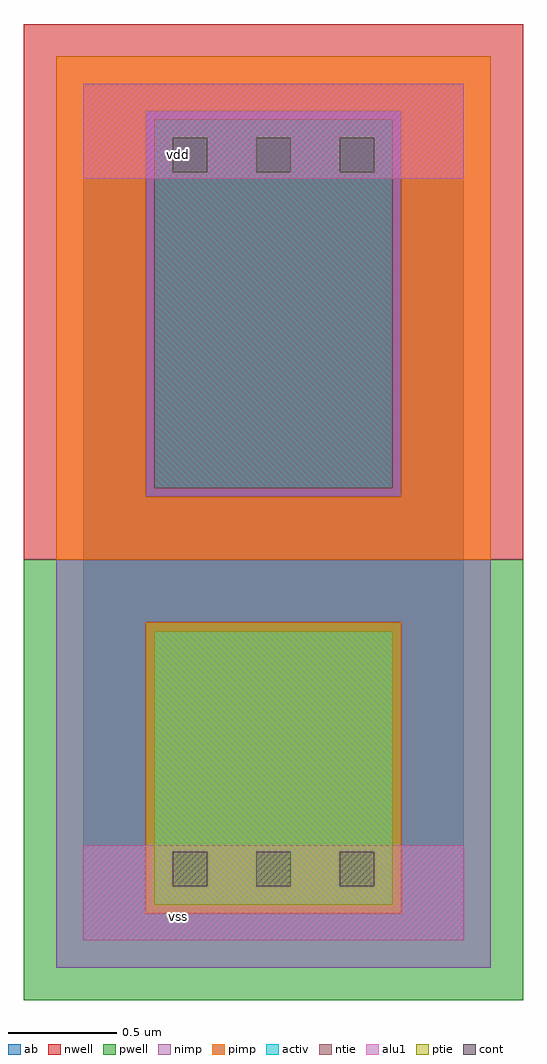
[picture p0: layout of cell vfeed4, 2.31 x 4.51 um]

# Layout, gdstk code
import gdstk
lib = gdstk.Library(unit=1e-6, precision=2.5e-09)
def R(c, l, rs):  # rectangles x0, y0, x1, y1
    for r in rs: c.add(gdstk.rectangle(r[:2], r[2:], *l))
def A(c, l, x, y, w, h, nx, ny, dx, dy):  # array of equal rectangles
    R(c, l, [(x+i*dx, y+j*dy, x+i*dx+w, y+j*dy+h) for i in range(nx) for j in range(ny)])
ntie = (5, 0)
ptie = (6, 0)
cont = (25, 0)
pwell = (41, 0)
nwell = (42, 0)
activ = (43, 0)
pimp = (44, 0)
nimp = (45, 0)
alu1 = (49, 0)
ab = (63, 0)

vfeed4 = lib.new_cell('vfeed4')
R(vfeed4, ntie, [(0.33,2.09,1.43,3.795)])
R(vfeed4, ptie, [(0.33,0.165,1.43,1.43)])
A(vfeed4, cont, 0.415, 0.25, 0.16, 0.16, 3, 2, 0.385, 3.3)
R(vfeed4, pwell, [(-0.275,-0.275,2.035,1.76)])
R(vfeed4, nwell, [(-0.275,1.76,2.035,4.235)])
R(vfeed4, activ, [(0.33,0.165,1.43,1.43), (0.33,2.09,1.43,3.795)])
R(vfeed4, pimp, [(0.29,0.125,1.47,1.47), (-0.125,1.76,1.885,2.05), (-0.125,2.05,0.29,3.835), (1.47,2.05,1.885,3.835), (-0.125,3.835,1.885,4.085)])
R(vfeed4, nimp, [(-0.125,-0.125,1.885,0.125), (-0.125,0.125,0.29,1.47), (1.47,0.125,1.885,1.47), (-0.125,1.47,1.885,1.76), (0.29,2.05,1.47,3.835)])
R(vfeed4, alu1, [(0,0,1.76,0.44), (0,3.52,1.76,3.96)])
R(vfeed4, ab, [(0,0,1.76,3.96)])
vfeed4.add(gdstk.Label('vss', (0.44,0.11), layer=49, texttype=0))
vfeed4.add(gdstk.Label('vdd', (0.44,3.63), layer=49, texttype=0))

lib.write_gds('vfeed4.gds')
